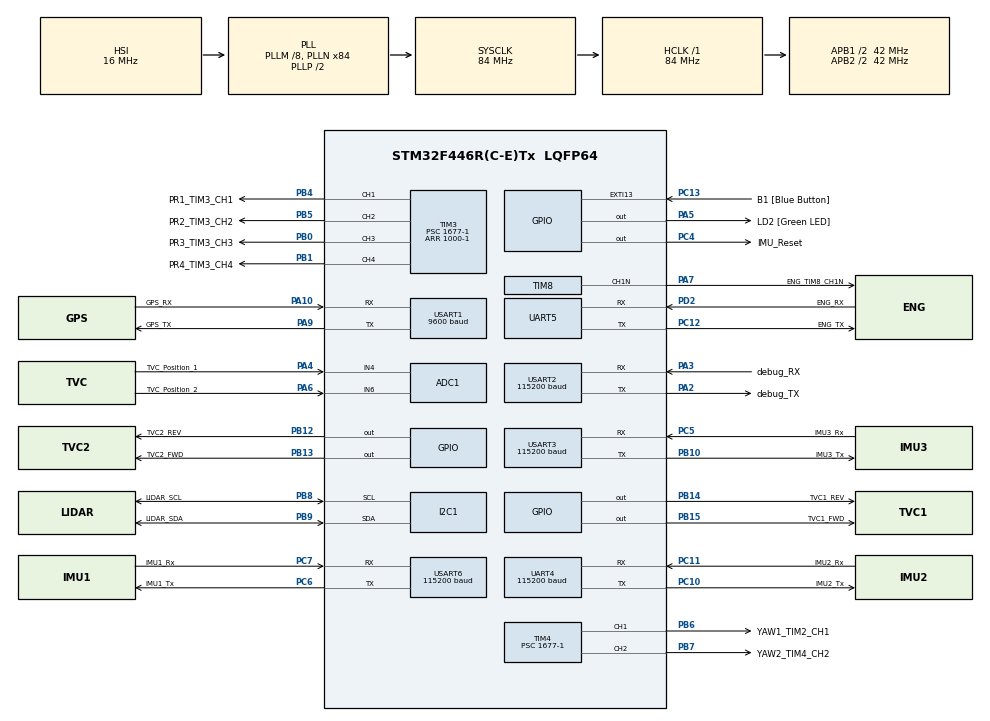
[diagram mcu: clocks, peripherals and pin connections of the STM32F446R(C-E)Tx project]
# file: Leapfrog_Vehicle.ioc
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ADC1.Channel-0\#ChannelRegularConversion=ADC_CHANNEL_4
ADC1.Channel-1\#ChannelRegularConversion=ADC_CHANNEL_6
ADC1.Channel-2\#ChannelRegularConversion=ADC_CHANNEL_4
ADC1.ClockPrescaler=ADC_CLOCK_SYNC_PCLK_DIV4
ADC1.ContinuousConvMode=ENABLE
ADC1.DMAContinuousRequests=ENABLE
ADC1.InjNumberOfConversion=0
ADC1.NbrOfConversion=3
ADC1.NbrOfConversionFlag=1
ADC1.Rank-0\#ChannelRegularConversion=1
ADC1.Rank-1\#ChannelRegularConversion=2
ADC1.Rank-2\#ChannelRegularConversion=3
ADC1.SamplingTime-0\#ChannelRegularConversion=ADC_SAMPLETIME_3CYCLES
ADC1.SamplingTime-1\#ChannelRegularConversion=ADC_SAMPLETIME_3CYCLES
ADC1.SamplingTime-2\#ChannelRegularConversion=ADC_SAMPLETIME_3CYCLES
ADC1.ScanConvMode=ENABLE
ADC1.master=1
Dma.ADC1.0.Direction=DMA_PERIPH_TO_MEMORY
Dma.ADC1.0.FIFOMode=DMA_FIFOMODE_DISABLE
Dma.ADC1.0.Instance=DMA2_Stream0
Dma.ADC1.0.MemDataAlignment=DMA_MDATAALIGN_HALFWORD
Dma.ADC1.0.MemInc=DMA_MINC_ENABLE
Dma.ADC1.0.Mode=DMA_CIRCULAR
Dma.ADC1.0.PeriphDataAlignment=DMA_PDATAALIGN_HALFWORD
Dma.ADC1.0.PeriphInc=DMA_PINC_DISABLE
Dma.ADC1.0.Priority=DMA_PRIORITY_LOW
Dma.Request0=ADC1
FREERTOS.Mutexes01=lidarMutex,Dynamic,NULL,Available
FREERTOS.Tasks01=defaultTask,24,1024,StartDefaultTask,Default,NULL,Dynamic,NULL,NULL;ACSTask,24,512,StartACSTask,Default,NULL,Dynamic,NULL,NULL;DebugTask,24,512,StartDebugTask,Default,NULL,Dynamic,NULL,NULL;tvcTask,24,128,StartTVCTask,Default,NULL,Dynamic,NULL,NULL;KillSwitchPin,40,128,StartKillSwitchPin,Default,NULL,Dynamic,NULL,NULL;engineTask,24,1024,StartEngineTask,Default,NULL,Dynamic,NULL,NULL
FREERTOS.configUSE_NEWLIB_REENTRANT=1
I2C1.I2C_Mode=I2C_Fast
Mcu.Family=STM32F4
Mcu.Name=STM32F446R(C-E)Tx
Mcu.Package=LQFP64
NVIC.ADC_IRQn=true\:5\:0\:false\:false\:true\:true\:true\:true\:true
NVIC.DMA2_Stream0_IRQn=true\:5\:0\:false\:false\:true\:true\:false\:true\:true
NVIC.EXTI15_10_IRQn=true\:5\:0\:false\:false\:true\:true\:true\:true\:true
NVIC.I2C1_ER_IRQn=true\:5\:0\:false\:false\:true\:true\:true\:true\:true
NVIC.I2C1_EV_IRQn=true\:5\:0\:false\:false\:true\:true\:true\:true\:true
NVIC.PriorityGroup=NVIC_PRIORITYGROUP_4
NVIC.TIM1_UP_TIM10_IRQn=true\:15\:0\:false\:false\:true\:false\:false\:true\:true
NVIC.TIM2_IRQn=true\:5\:0\:false\:false\:true\:true\:true\:true\:true
NVIC.TIM3_IRQn=true\:5\:0\:false\:false\:true\:true\:true\:true\:true
NVIC.TIM4_IRQn=true\:5\:0\:false\:false\:true\:true\:true\:true\:true
NVIC.TimeBase=TIM1_UP_TIM10_IRQn
NVIC.TimeBaseIP=TIM1
NVIC.UART4_IRQn=true\:5\:0\:false\:false\:true\:true\:true\:true\:true
NVIC.UART5_IRQn=true\:5\:0\:false\:false\:true\:true\:true\:true\:true
NVIC.USART1_IRQn=true\:5\:0\:false\:false\:true\:true\:true\:true\:true
NVIC.USART2_IRQn=true\:5\:0\:false\:false\:true\:true\:true\:true\:true
NVIC.USART3_IRQn=true\:5\:0\:false\:false\:true\:true\:true\:true\:true
NVIC.USART6_IRQn=true\:5\:0\:false\:false\:true\:true\:true\:true\:true
PA10.GPIO_Label=GPS_RX
PA10.Mode=Asynchronous
PA10.Signal=USART1_RX
PA13.Mode=Trace_Asynchronous_SW
PA13.Signal=SYS_JTMS-SWDIO
PA14.Mode=Trace_Asynchronous_SW
PA14.Signal=SYS_JTCK-SWCLK
PA2.GPIO_Label=debug_TX
PA2.Mode=Asynchronous
PA2.Signal=USART2_TX
PA3.GPIO_Label=debug_RX
PA3.Mode=Asynchronous
PA3.Signal=USART2_RX
PA4.GPIO_Label=TVC_Position_1
PA4.Signal=ADCx_IN4
PA5.GPIO_Label=LD2 [Green LED]
PA5.Signal=GPIO_Output
PA6.GPIO_Label=TVC_Position_2
PA6.Signal=ADCx_IN6
PA7.GPIO_Label=ENG_TIM8_CH1N
PA7.Mode=PWM Generation1 CH1N
PA7.Signal=TIM8_CH1N
PA9.GPIO_Label=GPS_TX
PA9.Mode=Asynchronous
PA9.Signal=USART1_TX
PB0.GPIO_Label=PR3_TIM3_CH3
PB0.Signal=S_TIM3_CH3
PB1.GPIO_Label=PR4_TIM3_CH4
PB1.Signal=S_TIM3_CH4
PB10.GPIO_Label=IMU3_Tx
PB10.Mode=Asynchronous
PB10.Signal=USART3_TX
PB12.GPIO_Label=TVC2_REV
PB12.Signal=GPIO_Output
PB13.GPIO_Label=TVC2_FWD
PB13.Signal=GPIO_Output
PB14.GPIO_Label=TVC1_REV
PB14.Signal=GPIO_Output
PB15.GPIO_Label=TVC1_FWD
PB15.Signal=GPIO_Output
PB3.Mode=Trace_Asynchronous_SW
PB3.Signal=SYS_JTDO-SWO
PB4.GPIO_Label=PR1_TIM3_CH1
PB4.Signal=S_TIM3_CH1
PB5.GPIO_Label=PR2_TIM3_CH2
PB5.Signal=S_TIM3_CH2
PB6.GPIO_Label=YAW1_TIM2_CH1
PB6.Signal=S_TIM4_CH1
PB7.GPIO_Label=YAW2_TIM4_CH2
PB7.Signal=S_TIM4_CH2
PB8.GPIO_Label=LIDAR_SCL
PB8.Mode=I2C
PB8.Signal=I2C1_SCL
PB9.GPIO_Label=LIDAR_SDA
PB9.Mode=I2C
PB9.Signal=I2C1_SDA
PC10.GPIO_Label=IMU2_Tx
PC10.Mode=Asynchronous
PC10.Signal=UART4_TX
PC11.GPIO_Label=IMU2_Rx
PC11.Mode=Asynchronous
PC11.Signal=UART4_RX
PC12.GPIO_Label=ENG_TX
PC12.Mode=Asynchronous
PC12.Signal=UART5_TX
PC13.GPIO_Label=B1 [Blue Button]
PC13.GPIO_ModeDefaultEXTI=GPIO_MODE_IT_FALLING
PC13.Signal=GPXTI13
PC14-OSC32_IN.Mode=LSE-External-Oscillator
PC14-OSC32_IN.Signal=RCC_OSC32_IN
PC15-OSC32_OUT.Mode=LSE-External-Oscillator
PC15-OSC32_OUT.Signal=RCC_OSC32_OUT
PC4.GPIO_Label=IMU_Reset
PC4.Signal=GPIO_Output
PC5.GPIO_Label=IMU3_Rx
PC5.Mode=Asynchronous
PC5.Signal=USART3_RX
PC6.GPIO_Label=IMU1_Tx
PC6.Mode=Asynchronous
PC6.Signal=USART6_TX
PC7.GPIO_Label=IMU1_Rx
PC7.Mode=Asynchronous
PC7.Signal=USART6_RX
PD2.GPIO_Label=ENG_RX
PD2.Mode=Asynchronous
PD2.Signal=UART5_RX
PH0-OSC_IN.Mode=HSE-External-Oscillator
PH0-OSC_IN.Signal=RCC_OSC_IN
PH1-OSC_OUT.Mode=HSE-External-Oscillator
PH1-OSC_OUT.Signal=RCC_OSC_OUT
ProjectManager.HeapSize=0x200
ProjectManager.StackSize=0x400
ProjectManager.TargetToolchain=STM32CubeIDE
RCC.AHBFreq_Value=84000000
RCC.APB1CLKDivider=RCC_HCLK_DIV2
RCC.APB1Freq_Value=42000000
RCC.APB1TimFreq_Value=84000000
RCC.APB2CLKDivider=RCC_HCLK_DIV2
RCC.APB2Freq_Value=42000000
RCC.APB2TimFreq_Value=84000000
RCC.CortexFreq_Value=84000000
RCC.HCLKFreq_Value=84000000
RCC.PLLM=8
RCC.PLLN=84
RCC.SYSCLKFreq_VALUE=84000000
RCC.SYSCLKSource=RCC_SYSCLKSOURCE_PLLCLK
RCC.USBFreq_Value=84000000
RCC.VCOOutputFreq_Value=168000000
SH.ADCx_IN4.0=ADC1_IN4,IN4
SH.ADCx_IN6.0=ADC1_IN6,IN6
SH.S_TIM3_CH1.0=TIM3_CH1,PWM Generation1 CH1
SH.S_TIM3_CH2.0=TIM3_CH2,PWM Generation2 CH2
SH.S_TIM3_CH3.0=TIM3_CH3,PWM Generation3 CH3
SH.S_TIM3_CH4.0=TIM3_CH4,PWM Generation4 CH4
SH.S_TIM4_CH1.0=TIM4_CH1,PWM Generation1 CH1
SH.S_TIM4_CH2.0=TIM4_CH2,PWM Generation2 CH2
TIM2.AutoReloadPreload=TIM_AUTORELOAD_PRELOAD_ENABLE
TIM2.Period=1000-1
TIM2.Prescaler=8400-1
TIM3.AutoReloadPreload=TIM_AUTORELOAD_PRELOAD_ENABLE
TIM3.Channel-PWM\ Generation1\ CH1=TIM_CHANNEL_1
TIM3.Channel-PWM\ Generation2\ CH2=TIM_CHANNEL_2
TIM3.Channel-PWM\ Generation3\ CH3=TIM_CHANNEL_3
TIM3.Channel-PWM\ Generation4\ CH4=TIM_CHANNEL_4
TIM3.Period=1000-1
TIM3.Prescaler=1677-1
TIM3.Pulse-PWM\ Generation1\ CH1=50
TIM3.Pulse-PWM\ Generation3\ CH3=50
TIM3.Pulse-PWM\ Generation4\ CH4=50
TIM4.AutoReloadPreload=TIM_AUTORELOAD_PRELOAD_ENABLE
TIM4.Channel-PWM\ Generation1\ CH1=TIM_CHANNEL_1
TIM4.Channel-PWM\ Generation2\ CH2=TIM_CHANNEL_2
TIM4.Period=1000-1
TIM4.Prescaler=1677-1
TIM4.Pulse-PWM\ Generation1\ CH1=0
TIM4.Pulse-PWM\ Generation2\ CH2=50
TIM8.AutoReloadPreload=TIM_AUTORELOAD_PRELOAD_ENABLE
TIM8.Channel-PWM\ Generation1\ CH1N=TIM_CHANNEL_1
TIM8.Period=1000-1
TIM8.Prescaler=1677-1
UART4.BaudRate=115200
UART4.OverSampling=UART_OVERSAMPLING_8
UART4.VirtualMode=Asynchronous
UART5.VirtualMode=Asynchronous
USART1.BaudRate=9600
USART1.OverSampling=UART_OVERSAMPLING_8
USART1.VirtualMode=VM_ASYNC
USART2.BaudRate=115200
USART2.OverSampling=UART_OVERSAMPLING_8
USART2.VirtualMode=VM_ASYNC
USART3.BaudRate=115200
USART3.OverSampling=UART_OVERSAMPLING_8
USART3.VirtualMode=VM_ASYNC
USART6.BaudRate=115200
USART6.OverSampling=UART_OVERSAMPLING_8
USART6.VirtualMode=VM_ASYNC
USART6.WordLength=WORDLENGTH_8B
VP_FREERTOS_VS_CMSIS_V2.Mode=CMSIS_V2
VP_SYS_VS_tim1.Mode=TIM1
VP_TIM2_VS_ClockSourceINT.Mode=Internal
board=custom

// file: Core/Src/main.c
/* USER CODE BEGIN Header */
/**
 ******************************************************************************
 * @file           : main.c
 * @brief          : Main program body
 ******************************************************************************
 * @attention
 *
 * Copyright (c) 2024 STMicroelectronics.
 * All rights reserved.
 *
 * This software is licensed under terms that can be found in the LICENSE file
 * in the root directory of this software component.
 * If no LICENSE file comes with this software, it is provided AS-IS.
 *
 * NOTE:
 *
 ******************************************************************************
 */

/* USER CODE END Header */
#include "main.h"
#include "cmsis_os.h"

/* USER CODE BEGIN Includes */
#include <math.h>
#include <errno.h>
#include <stdarg.h>
#include <sys/unistd.h> // STDOUT_FILENO, STDERR_FILENO
#include <stdlib.h>
#include <string.h>
#include <stdio.h>
#include <stdbool.h>

// Include source files

//#include "heartbeat.h"
#include "task.h"
#include "queue.h"
#include "tvc.h"
#include "ACS_PID.h"
#include "processIMU.h"
#include "altimeter.h"
#include "engine_PID.h"
#include "engine.h"
#include "alt_imu_coupling.h"
#include "gps.h"
//#include "printf.h"

/* USER CODE END Includes */

/* USER CODE BEGIN PD */
#define RX_BUFFER_SIZE 512
#define UART_TIMEOUT 100

#define SAFE_PI_TIMEOUT_MS 1000                    // Timeout in ms for Pi comms
volatile bool safeland_active         = false;
volatile uint32_t last_pi_comm_tick   = 0;

/* USER CODE END PD */

ADC_HandleTypeDef hadc1;
DMA_HandleTypeDef hdma_adc1;

I2C_HandleTypeDef hi2c1;

TIM_HandleTypeDef htim2;
TIM_HandleTypeDef htim3;
TIM_HandleTypeDef htim4;
TIM_HandleTypeDef htim8;

UART_HandleTypeDef huart4;
UART_HandleTypeDef huart5;
UART_HandleTypeDef huart1;
UART_HandleTypeDef huart2;
UART_HandleTypeDef huart3;
UART_HandleTypeDef huart6;

/* Definitions for defaultTask */
osThreadId_t defaultTaskHandle;
const osThreadAttr_t defaultTask_attributes = {
  .name = "defaultTask",
  .stack_size = 1024 * 4,
  .priority = (osPriority_t) osPriorityNormal,
};
/* Definitions for ACSTask */
osThreadId_t ACSTaskHandle;
const osThreadAttr_t ACSTask_attributes = {
  .name = "ACSTask",
  .stack_size = 512 * 4,
  .priority = (osPriority_t) osPriorityNormal,
};
/* Definitions for DebugTask */
osThreadId_t DebugTaskHandle;
const osThreadAttr_t DebugTask_attributes = {
  .name = "DebugTask",
  .stack_size = 512 * 4,
  .priority = (osPriority_t) osPriorityNormal,
};
/* Definitions for tvcTask */
osThreadId_t tvcTaskHandle;
const osThreadAttr_t tvcTask_attributes = {
  .name = "tvcTask",
  .stack_size = 128 * 4,
  .priority = (osPriority_t) osPriorityNormal,
};
/* Definitions for KillSwitchPin */
osThreadId_t KillSwitchPinHandle;
const osThreadAttr_t KillSwitchPin_attributes = {
  .name = "KillSwitchPin",
  .stack_size = 128 * 4,
  .priority = (osPriority_t) osPriorityHigh,
};
/* Definitions for engineTask */
osThreadId_t engineTaskHandle;
const osThreadAttr_t engineTask_attributes = {
  .name = "engineTask",
  .stack_size = 1024 * 4,
  .priority = (osPriority_t) osPriorityNormal,
};
/* Definitions for lidarMutex */
osMutexId_t lidarMutexHandle;
const osMutexAttr_t lidarMutex_attributes = {
  .name = "lidarMutex"
};
/* USER CODE BEGIN PV */

// Define the global instance of STM32Response
STM32Response stm32Response;

// Define system state variables
ACS_State acsState;
TVC_State tvcState;
Jet_State engineState;

// Heartbeat Variables
QueueHandle_t piMessageQueueHandle;

// ACS Variables
uint8_t imuCalibrate = 0;
uint8_t imuCalibrate_Sticky = 0;

// Altimeter Variables
#define ALT_QUEUE_LENGTH 1
#define ALT_QUEUE_ITEM_SIZE sizeof(AltimeterData)
QueueHandle_t AltimeterQueueHandle;

// TVC Variables
//TODO Placeholder queue creation! (TVC_Data needs to be updated in tvc.c!)
#define TVC_QUEUE_LENGTH 1
#define TVC_QUEUE_ITEM_SIZE sizeof(TVC_Data)
QueueHandle_t tvcQueueHandle;

// GPS Variables
// TODO Placeholder queue creation!
#define GPS_QUEUE_LENGTH  1
#define GPS_QUEUE_ITEM_SIZE sizeof(GPS_Data)
QueueHandle_t gpsQueueHandle;

/* USER CODE END PV */

void SystemClock_Config(void);
static void MX_GPIO_Init(void);
static void MX_DMA_Init(void);
static void MX_TIM3_Init(void);
static void MX_TIM4_Init(void);
static void MX_USART2_UART_Init(void);
static void MX_USART6_UART_Init(void);
static void MX_TIM2_Init(void);
static void MX_UART5_Init(void);
static void MX_ADC1_Init(void);
static void MX_USART1_UART_Init(void);
static void MX_I2C1_Init(void);
static void MX_UART4_Init(void);
static void MX_USART3_UART_Init(void);
static void MX_TIM8_Init(void);
void StartDefaultTask(void *argument);
void StartACSTask(void *argument);
void StartDebugTask(void *argument);
void StartTVCTask(void *argument);
void StartKillSwitchPin(void *argument);
void StartEngineTask(void *argument);

/* USER CODE BEGIN PFP */
void HAL_UART_RxCpltCallback(UART_HandleTypeDef *huart);
void debugOutput(UART_HandleTypeDef *huart);

/* USER CODE END PFP */

/* USER CODE BEGIN 0 */

// Custom _putchar for lightweight printf to UART1
void _putchar(char character) {
    HAL_UART_Transmit(&huart2, (uint8_t *)&character, 1, HAL_MAX_DELAY);
}

 uint8_t modeButton = 0; // Used for Blue Button to toggle external interrupt

/* _write function implementation */
int _write(int file, char *data, int len) {
    if ((file != STDOUT_FILENO) && (file != STDERR_FILENO)) {
        errno = EBADF;
        return -1;
    }
    HAL_UART_Transmit(&huart2, (uint8_t*)data, len, HAL_MAX_DELAY);
    return len;
}

void HAL_UART_RxCpltCallback(UART_HandleTypeDef *huart)
{   // Handle incoming IMU data and restart the UART reception interrupt.
	// This function is automatically called by the HAL library when a UART receive operation is completed (HAL_UART_Receive_IT).
	// It takes a pointer to the UART handle (huart) that triggered the interrupt.

    // Handle overrun errors first
	// IMU specifically seems to hit ORE (overrun) a lot ¯\_(ツ)_/¯
    if (__HAL_UART_GET_FLAG(huart, UART_FLAG_ORE)) {
        __HAL_UART_CLEAR_OREFLAG(huart);
        printf("UART Overrun Error!\r\n");
    }

	if (huart->Instance == USART6) {
		// Restart UART reception
		HAL_UART_Receive_IT(&huart6, imu1RxBuf, IMU_PACKET_LEN);
	}
	if (huart->Instance == UART4) {
		// Restart UART reception
		HAL_UART_Receive_IT(&huart4, imu2RxBuf, IMU_PACKET_LEN);
	}
	if (huart->Instance == USART3) {
		// Restart UART reception
		HAL_UART_Receive_IT(&huart3, imu3RxBuf, IMU_PACKET_LEN);
	}
	if (huart->Instance == USART2) {
		// Handle Pi communication - process received byte
		extern void ProcessPiByte(uint8_t received_byte);
		ProcessPiByte(huart->pRxBuffPtr[0]);

		// Restart UART reception for next byte
		HAL_UART_Receive_IT(&huart2, huart->pRxBuffPtr, 1);
	}
	if (huart->Instance == USART1) {
		// Handle GPS data - process received packet
		extern void gpsUARTRXCallback(uint8_t *bufferGPS);
		gpsUARTRXCallback(huart->pRxBuffPtr);
	}

}

void debugOutput(UART_HandleTypeDef *huart){ // Debug for code setup
    char uart_buffer[768]; // shared buffer for UART,
    // Full message is too large for buffer.

    // Clear the buffer
    memset(uart_buffer, 0, sizeof(uart_buffer));

    // Make string for printing test data
    int len = snprintf(uart_buffer, sizeof(uart_buffer),
//	    	"\rIMU1 - R: %.2f, P: %.2f, Y: %.2f \r\n"
//	    	"\rIMU2 - R: %.2f, P: %.2f, Y: %.2f \r\n"
//	    	"\rIMU3 - R: %.2f, P: %.2f, Y: %.2f \r\n"
			"\rroll: %.2f, pitch: %.2f, yaw: %.2f \r\n"
			"\rP_pitch: %.2f, I_pitch: %.2f, D_pitch: %.2f \r\n"
			"\rP_roll: %.2f, I_roll: %.2f, D_roll: %.2f \r\n"
			"\rP_yaw: %.2f, I_yaw: %.2f, D_yaw: %.2f \r\n"
			"\rAngVel_X: %.2f, AngVel_Y: %.2f \r\n"
			"\rIntegral_pitch: %.2f, Integral_roll: %.2f, Integral_yaw: %.2f \r\n"
			"\rPR1: %.2f, PR2: %.2f, PR3: %.2f, PR4: %.2f, Y1: %.2f, Y2: %.2f \r\n"
			"\rAltitude: %d, Adjusted Altitude: %0.2f \r\n"
    		"\rGPS - Lat: %.6f, Lon: %.6f, Alt: %.2f, Fix: %d \r\n"
    		"\rGPS - Speed: %.2f m/s, Heading: %.1f°, Valid: %d, Age: %lums \r\n"
    		"\rEngine PID Output: %.2f, Engine Throttle %%: %d \r\n"
			"\r\n",
//			imu_roll[0], imu_pitch[0], imu_yaw[0],
//			imu_roll[1], imu_pitch[1], imu_yaw[1],
//			imu_roll[2], imu_pitch[2], imu_yaw[2],
			processed_roll_deg, processed_pitch_deg, processed_yaw_deg,
			P_pitch, I_pitch, D_pitch,
			P_roll, I_roll, D_roll,
			P_yaw, I_yaw, D_yaw,
			current_angvel_x_degs, current_angvel_y_degs,
			integral_pitch,	integral_roll, integral_yaw,
			PR1_output, PR2_output, PR3_output, PR4_output, Y1_output, Y2_output,
			(int16_t)latestData.altitude, adjusted_altitude_cm,
			latestGPSdata.latitude, latestGPSdata.longitude, latestGPSdata.altitude, latestGPSdata.fix_status,
			latestGPSdata.speed_ms, latestGPSdata.heading_deg, latestGPSdata.data_valid, latestGPSdata.data_age_ms,
			altPIDOut, throttle_percent
    	);

    // Transmit over UART
    HAL_UART_Transmit(huart, (uint8_t *)uart_buffer, len, HAL_MAX_DELAY);
}

// Callback function | every time blue button is pressed, the function is called
// Physical on/off switch... nice!
void HAL_GPIO_EXTI_Callback(uint16_t GPIO_Pin)
{
	modeButton = modeButton + 1;
	if (modeButton > 1)
	{
		modeButton = 0;
	}

}

/* USER CODE END 0 */

int main(void)
{

  /* MCU Configuration--------------------------------------------------------*/

  /* Reset of all peripherals, Initializes the Flash interface and the Systick. */
  HAL_Init();

  /* Configure the system clock */
  SystemClock_Config();

  /* Initialize all configured peripherals */
  MX_GPIO_Init();
  MX_DMA_Init();
  MX_TIM3_Init();
  MX_TIM4_Init();
  MX_USART2_UART_Init();
  MX_USART6_UART_Init();
  MX_TIM2_Init();
  MX_UART5_Init();
  MX_ADC1_Init();
  MX_USART1_UART_Init();
  MX_I2C1_Init();
  MX_UART4_Init();
  MX_USART3_UART_Init();
  MX_TIM8_Init();
  /* USER CODE BEGIN 2 */

  HAL_Delay(500);    // Short delay to allow systems to finish initializing

  printf("\r\nSystem initialized!\r\n");
  HAL_Delay(20);

  /* IMU HANDLING ------------------------------------------------------------- */
  printf("Starting UART check...\r\n");

  // Start UART reception for IMU data (only after IMU is fully ready)
  if (HAL_UART_Receive_IT(&huart6, imu1RxBuf, IMU_PACKET_LEN) != HAL_OK) {
      printf("IMU1 UART6 Initialization Failed!\r\n");
      Error_Handler();
  }
  else{
	  printf("\rIMU1 USART6 Initialization Complete!\r\n");
  }
  HAL_Delay(10);

  if (HAL_UART_Receive_IT(&huart4, imu2RxBuf, IMU_PACKET_LEN) != HAL_OK) {
        printf("IMU2 UART4 Initialization Failed!\r\n");
        Error_Handler();
  }
  else{
  	  printf("\rIMU2 USART4 Initialization Complete!\r\n");
    }
  HAL_Delay(10);

  if (HAL_UART_Receive_IT(&huart3, imu3RxBuf, IMU_PACKET_LEN) != HAL_OK) {
        printf("IMU3 UART3 Initialization Failed!\r\n");
        Error_Handler();
  }
  else{
  	  printf("\rIMU3 USART3 Initialization Complete! \r\n");
    }

  HAL_Delay(200);

  /* PI COMMUNICATION HANDLING ------------------------------------------------- */
  printf("Starting Pi UART communication...\r\n");
  extern void InitPiUARTReception(UART_HandleTypeDef *huart);
  InitPiUARTReception(&huart2);

  HAL_Delay(100);

  /* ALTIMITER HANDLING -------------------------------------------------------- */
  printf("\rStarting I2C check... \r\n");

// Initialize Altimeter with desired distance mode
  altimeterInit(&hi2c1, ALTIMETER_SHORT_DISTANCE_MODE);  // Use SHORT mode (for low sensitivity, high precision)
// OR:
// altimeterInit(&hi2c1, ALTIMETER_LONG_DISTANCE_MODE);  // Use LONG mode (for high sensitivity, longer range)

  if (altimeterCheckI2CReady() != HAL_OK) {
      printf("\rAltimeter I2C check failed. LIDAR not responding!\r\n");
      Error_Handler();  // Stop execution if LIDAR is not responding
  } else {
      printf("\rAltimeter Initialized! \r\n");
  }
  HAL_Delay(200);

  /* GPS HANDLING -------------------------------------------------------------- */
  printf("\rStarting GPS initialization...\r\n");
  gpsInit(&huart1);  // Initialize GPS on UART1 (PA9/PA10)
  gpsConfigureSAM_M8Q();  // Configure SAM-M8Q for optimal performance
  printf("\rGPS Initialized!\r\n");
  HAL_Delay(100);

/* End sensor initialization --------------------------------------------------- */

	/* Start PWM channels for Pitch & Roll EDFs 1-4 */
	HAL_TIM_PWM_Start(&htim3, TIM_CHANNEL_1);
	HAL_TIM_PWM_Start(&htim3, TIM_CHANNEL_2);
	HAL_TIM_PWM_Start(&htim3, TIM_CHANNEL_3);
	HAL_TIM_PWM_Start(&htim3, TIM_CHANNEL_4);
	/* Start PWM for Yaw EDF 5&6, 7&8 */
	HAL_TIM_PWM_Start(&htim4, TIM_CHANNEL_1);
	HAL_TIM_PWM_Start(&htim4, TIM_CHANNEL_2);

	void SetFanSpeed(uint32_t Fan1, uint32_t Fan2, uint32_t Fan3, uint32_t Fan4, uint32_t Fan5, uint32_t Fan6) {
	    TIM3->CCR1 = Fan1;  // Fan 1
	    TIM3->CCR2 = Fan2;  // Fan 2
	    TIM3->CCR3 = Fan3;  // Fan 3
	    TIM3->CCR4 = Fan4;  // Fan 4
	    TIM4->CCR1 = Fan5;  // Fan 5
	    TIM4->CCR2 = Fan6;  // Fan 6
	}
	        HAL_Delay(1000); // Allow ESCs to initialize
	        SetFanSpeed(50, 50, 50, 50, 50, 50);  // Sets all throttle to 0%
	        HAL_Delay(3000);

//	        printf("\n Startup Test Begins! \r\n");
//
//	        SetFanSpeed(60, 50, 50, 50, 50, 50);  // Fan 1
//	        HAL_Delay(2000);
//
//	        SetFanSpeed(50, 60, 50, 50, 50, 50);  // Fan 2
//	        HAL_Delay(2000);
//
//	        SetFanSpeed(50, 50, 60, 50, 50, 50);  // Fan 3
//	        HAL_Delay(2000);
//
//	        SetFanSpeed(50, 50, 50, 60, 50, 50);  // Fan 4
//	        HAL_Delay(2000);
//
//	        SetFanSpeed(50, 50, 50, 50, 60, 50);  // Fan 5
//	        HAL_Delay(4000);
//
//	        SetFanSpeed(50, 50, 50, 50, 50, 60);  // Fan 6
//	        HAL_Delay(4000);
//
//	        SetFanSpeed(50, 50, 50, 50, 50, 50);  // Reset all throttle to 0%
//
//	        printf("\n Startup Test complete! \r\n");
//
//	        HAL_Delay(2000);

	        printf("\rAll ESCs Initialized! \r\n");
	        HAL_Delay(200);

	/* Start timer interrupt for PID control */
	HAL_TIM_Base_Start_IT(&htim2);

	HAL_Delay(100);

    printf("\rSystem starting... \r\n");

    HAL_Delay(1000);

  /* USER CODE END 2 */

  /* Init scheduler */
  osKernelInitialize();
  /* Create the mutex(es) */
  /* creation of lidarMutex */
  lidarMutexHandle = osMutexNew(&lidarMutex_attributes);

  /* USER CODE BEGIN RTOS_QUEUES */
	/* add queues, ... */

  	// Heartbeat Queue
  	piMessageQueueHandle = xQueueCreate(1, sizeof(STM32Message));
  	if (piMessageQueueHandle == NULL) {
  	    printf("Failed to create piMessage Queue!\r\n");
  	    Error_Handler();
  	}

  	// TVC Queue ... TODO unused for now
  	tvcQueueHandle = xQueueCreate(TVC_QUEUE_LENGTH, TVC_QUEUE_ITEM_SIZE);
  	if (tvcQueueHandle == NULL) {
  	    printf("Failed to create TVC Queue!\r\n");
  	    Error_Handler();
  	}

    // Altimeter Queue ... TODO unused for now
    AltimeterQueueHandle = xQueueCreate(ALT_QUEUE_LENGTH, ALT_QUEUE_ITEM_SIZE);
    if (AltimeterQueueHandle == NULL) {
        printf("\rFailed to create ALTIMETER Queue!\r\n");
        Error_Handler();
    }

  	// GPS Queue ... TODO unused for now
  	 gpsQueueHandle = xQueueCreate(GPS_QUEUE_LENGTH, GPS_QUEUE_ITEM_SIZE);
     if (gpsQueueHandle == NULL) {
         printf("\rFailed to create GPS Queue!\r\n");
         Error_Handler();
     }

  /* USER CODE END RTOS_QUEUES */

  /* Create the thread(s) */
  /* creation of defaultTask */
  defaultTaskHandle = osThreadNew(StartDefaultTask, NULL, &defaultTask_attributes);

  /* creation of ACSTask */
  ACSTaskHandle = osThreadNew(StartACSTask, NULL, &ACSTask_attributes);

  /* creation of DebugTask */
  DebugTaskHandle = osThreadNew(StartDebugTask, NULL, &DebugTask_attributes);

  /* creation of tvcTask */
  tvcTaskHandle = osThreadNew(StartTVCTask, NULL, &tvcTask_attributes);

  /* creation of KillSwitchPin */
  KillSwitchPinHandle = osThreadNew(StartKillSwitchPin, NULL, &KillSwitchPin_attributes);

  /* creation of engineTask */
  engineTaskHandle = osThreadNew(StartEngineTask, NULL, &engineTask_attributes);

  /* USER CODE BEGIN RTOS_EVENTS */
	/* add events, ... */
  printf("\rKernel starting...\r\n");
  /* USER CODE END RTOS_EVENTS */

  /* Start scheduler */
  osKernelStart();

  /* We should never get here as control is now taken by the scheduler */

  /* Infinite loop */

}

void SystemClock_Config(void)
{
  RCC_OscInitTypeDef RCC_OscInitStruct = {0};
  RCC_ClkInitTypeDef RCC_ClkInitStruct = {0};

  /** Configure the main internal regulator output voltage
  */
  __HAL_RCC_PWR_CLK_ENABLE();
  __HAL_PWR_VOLTAGESCALING_CONFIG(PWR_REGULATOR_VOLTAGE_SCALE3);

  /** Initializes the RCC Oscillators according to the specified parameters
  * in the RCC_OscInitTypeDef structure.
  */
  RCC_OscInitStruct.OscillatorType = RCC_OSCILLATORTYPE_HSI;
  RCC_OscInitStruct.HSIState = RCC_HSI_ON;
  RCC_OscInitStruct.HSICalibrationValue = RCC_HSICALIBRATION_DEFAULT;
  RCC_OscInitStruct.PLL.PLLState = RCC_PLL_ON;
  RCC_OscInitStruct.PLL.PLLSource = RCC_PLLSOURCE_HSI;
  RCC_OscInitStruct.PLL.PLLM = 8;
  RCC_OscInitStruct.PLL.PLLN = 84;
  RCC_OscInitStruct.PLL.PLLP = RCC_PLLP_DIV2;
  RCC_OscInitStruct.PLL.PLLQ = 2;
  RCC_OscInitStruct.PLL.PLLR = 2;
  if (HAL_RCC_OscConfig(&RCC_OscInitStruct) != HAL_OK)
  {
    Error_Handler();
  }

  /** Initializes the CPU, AHB and APB buses clocks
  */
  RCC_ClkInitStruct.ClockType = RCC_CLOCKTYPE_HCLK|RCC_CLOCKTYPE_SYSCLK
                              |RCC_CLOCKTYPE_PCLK1|RCC_CLOCKTYPE_PCLK2;
  RCC_ClkInitStruct.SYSCLKSource = RCC_SYSCLKSOURCE_PLLCLK;
  RCC_ClkInitStruct.AHBCLKDivider = RCC_SYSCLK_DIV1;
  RCC_ClkInitStruct.APB1CLKDivider = RCC_HCLK_DIV2;
  RCC_ClkInitStruct.APB2CLKDivider = RCC_HCLK_DIV2;

  if (HAL_RCC_ClockConfig(&RCC_ClkInitStruct, FLASH_LATENCY_2) != HAL_OK)
  {
    Error_Handler();
  }
}

static void MX_ADC1_Init(void)
{

  ADC_ChannelConfTypeDef sConfig = {0};

  /** Configure the global features of the ADC (Clock, Resolution, Data Alignment and number of conversion)
  */
  hadc1.Instance = ADC1;
  hadc1.Init.ClockPrescaler = ADC_CLOCK_SYNC_PCLK_DIV4;
  hadc1.Init.Resolution = ADC_RESOLUTION_12B;
  hadc1.Init.ScanConvMode = ENABLE;
  hadc1.Init.ContinuousConvMode = ENABLE;
  hadc1.Init.DiscontinuousConvMode = DISABLE;
  hadc1.Init.ExternalTrigConvEdge = ADC_EXTERNALTRIGCONVEDGE_NONE;
  hadc1.Init.ExternalTrigConv = ADC_SOFTWARE_START;
  hadc1.Init.DataAlign = ADC_DATAALIGN_RIGHT;
  hadc1.Init.NbrOfConversion = 3;
  hadc1.Init.DMAContinuousRequests = ENABLE;
  hadc1.Init.EOCSelection = ADC_EOC_SINGLE_CONV;
  if (HAL_ADC_Init(&hadc1) != HAL_OK)
  {
    Error_Handler();
  }

  /** Configure for the selected ADC regular channel its corresponding rank in the sequencer and its sample time.
  */
  sConfig.Channel = ADC_CHANNEL_4;
  sConfig.Rank = 1;
  sConfig.SamplingTime = ADC_SAMPLETIME_3CYCLES;
  if (HAL_ADC_ConfigChannel(&hadc1, &sConfig) != HAL_OK)
  {
    Error_Handler();
  }

  /** Configure for the selected ADC regular channel its corresponding rank in the sequencer and its sample time.
  */
  sConfig.Channel = ADC_CHANNEL_6;
  sConfig.Rank = 2;
  if (HAL_ADC_ConfigChannel(&hadc1, &sConfig) != HAL_OK)
  {
    Error_Handler();
  }

  /** Configure for the selected ADC regular channel its corresponding rank in the sequencer and its sample time.
  */
  sConfig.Channel = ADC_CHANNEL_4;
  sConfig.Rank = 3;
  if (HAL_ADC_ConfigChannel(&hadc1, &sConfig) != HAL_OK)
  {
    Error_Handler();
  }

}

static void MX_I2C1_Init(void)
{

  hi2c1.Instance = I2C1;
  hi2c1.Init.ClockSpeed = 400000;
  hi2c1.Init.DutyCycle = I2C_DUTYCYCLE_2;
  hi2c1.Init.OwnAddress1 = 0;
  hi2c1.Init.AddressingMode = I2C_ADDRESSINGMODE_7BIT;
  hi2c1.Init.DualAddressMode = I2C_DUALADDRESS_DISABLE;
  hi2c1.Init.OwnAddress2 = 0;
  hi2c1.Init.GeneralCallMode = I2C_GENERALCALL_DISABLE;
  hi2c1.Init.NoStretchMode = I2C_NOSTRETCH_DISABLE;
  if (HAL_I2C_Init(&hi2c1) != HAL_OK)
  {
    Error_Handler();
  }

}

static void MX_TIM2_Init(void)
{

  TIM_ClockConfigTypeDef sClockSourceConfig = {0};
  TIM_MasterConfigTypeDef sMasterConfig = {0};

  htim2.Instance = TIM2;
  htim2.Init.Prescaler = 8400-1;
  htim2.Init.CounterMode = TIM_COUNTERMODE_UP;
  htim2.Init.Period = 1000-1;
  htim2.Init.ClockDivision = TIM_CLOCKDIVISION_DIV1;
  htim2.Init.AutoReloadPreload = TIM_AUTORELOAD_PRELOAD_ENABLE;
  if (HAL_TIM_Base_Init(&htim2) != HAL_OK)
  {
    Error_Handler();
  }
  sClockSourceConfig.ClockSource = TIM_CLOCKSOURCE_INTERNAL;
  if (HAL_TIM_ConfigClockSource(&htim2, &sClockSourceConfig) != HAL_OK)
  {
    Error_Handler();
  }
  sMasterConfig.MasterOutputTrigger = TIM_TRGO_RESET;
  sMasterConfig.MasterSlaveMode = TIM_MASTERSLAVEMODE_DISABLE;
  if (HAL_TIMEx_MasterConfigSynchronization(&htim2, &sMasterConfig) != HAL_OK)
  {
    Error_Handler();
  }

}

static void MX_TIM3_Init(void)
{

  TIM_MasterConfigTypeDef sMasterConfig = {0};
  TIM_OC_InitTypeDef sConfigOC = {0};

  htim3.Instance = TIM3;
  htim3.Init.Prescaler = 1677-1;
  htim3.Init.CounterMode = TIM_COUNTERMODE_UP;
  htim3.Init.Period = 1000-1;
  htim3.Init.ClockDivision = TIM_CLOCKDIVISION_DIV1;
  htim3.Init.AutoReloadPreload = TIM_AUTORELOAD_PRELOAD_ENABLE;
  if (HAL_TIM_PWM_Init(&htim3) != HAL_OK)
  {
    Error_Handler();
  }
  sMasterConfig.MasterOutputTrigger = TIM_TRGO_RESET;
  sMasterConfig.MasterSlaveMode = TIM_MASTERSLAVEMODE_DISABLE;
  if (HAL_TIMEx_MasterConfigSynchronization(&htim3, &sMasterConfig) != HAL_OK)
  {
    Error_Handler();
  }
  sConfigOC.OCMode = TIM_OCMODE_PWM1;
  sConfigOC.Pulse = 50;
  sConfigOC.OCPolarity = TIM_OCPOLARITY_HIGH;
  sConfigOC.OCFastMode = TIM_OCFAST_DISABLE;
  if (HAL_TIM_PWM_ConfigChannel(&htim3, &sConfigOC, TIM_CHANNEL_1) != HAL_OK)
  {
    Error_Handler();
  }
  sConfigOC.Pulse = 0;
  if (HAL_TIM_PWM_ConfigChannel(&htim3, &sConfigOC, TIM_CHANNEL_2) != HAL_OK)
  {
    Error_Handler();
  }
  sConfigOC.Pulse = 50;
  if (HAL_TIM_PWM_ConfigChannel(&htim3, &sConfigOC, TIM_CHANNEL_3) != HAL_OK)
  {
    Error_Handler();
  }
  if (HAL_TIM_PWM_ConfigChannel(&htim3, &sConfigOC, TIM_CHANNEL_4) != HAL_OK)
  {
    Error_Handler();
  }
  HAL_TIM_MspPostInit(&htim3);

}

static void MX_TIM4_Init(void)
{

  TIM_MasterConfigTypeDef sMasterConfig = {0};
  TIM_OC_InitTypeDef sConfigOC = {0};

  htim4.Instance = TIM4;
  htim4.Init.Prescaler = 1677-1;
  htim4.Init.CounterMode = TIM_COUNTERMODE_UP;
  htim4.Init.Period = 1000-1;
  htim4.Init.ClockDivision = TIM_CLOCKDIVISION_DIV1;
  htim4.Init.AutoReloadPreload = TIM_AUTORELOAD_PRELOAD_ENABLE;
  if (HAL_TIM_PWM_Init(&htim4) != HAL_OK)
  {
    Error_Handler();
  }
  sMasterConfig.MasterOutputTrigger = TIM_TRGO_RESET;
  sMasterConfig.MasterSlaveMode = TIM_MASTERSLAVEMODE_DISABLE;
  if (HAL_TIMEx_MasterConfigSynchronization(&htim4, &sMasterConfig) != HAL_OK)
  {
    Error_Handler();
  }
  sConfigOC.OCMode = TIM_OCMODE_PWM1;
  sConfigOC.Pulse = 0;
  sConfigOC.OCPolarity = TIM_OCPOLARITY_HIGH;
  sConfigOC.OCFastMode = TIM_OCFAST_DISABLE;
  if (HAL_TIM_PWM_ConfigChannel(&htim4, &sConfigOC, TIM_CHANNEL_1) != HAL_OK)
  {
    Error_Handler();
  }
  sConfigOC.Pulse = 50;
  if (HAL_TIM_PWM_ConfigChannel(&htim4, &sConfigOC, TIM_CHANNEL_2) != HAL_OK)
  {
    Error_Handler();
  }
  HAL_TIM_MspPostInit(&htim4);

}

static void MX_TIM8_Init(void)
{

  TIM_MasterConfigTypeDef sMasterConfig = {0};
  TIM_OC_InitTypeDef sConfigOC = {0};
  TIM_BreakDeadTimeConfigTypeDef sBreakDeadTimeConfig = {0};

  htim8.Instance = TIM8;
  htim8.Init.Prescaler = 1677-1;
  htim8.Init.CounterMode = TIM_COUNTERMODE_UP;
  htim8.Init.Period = 1000-1;
  htim8.Init.ClockDivision = TIM_CLOCKDIVISION_DIV1;
  htim8.Init.RepetitionCounter = 0;
  htim8.Init.AutoReloadPreload = TIM_AUTORELOAD_PRELOAD_ENABLE;
  if (HAL_TIM_PWM_Init(&htim8) != HAL_OK)
  {
    Error_Handler();
  }
  sMasterConfig.MasterOutputTrigger = TIM_TRGO_RESET;
  sMasterConfig.MasterSlaveMode = TIM_MASTERSLAVEMODE_DISABLE;
  if (HAL_TIMEx_MasterConfigSynchronization(&htim8, &sMasterConfig) != HAL_OK)
  {
    Error_Handler();
  }
  sConfigOC.OCMode = TIM_OCMODE_PWM1;
  sConfigOC.Pulse = 0;
  sConfigOC.OCPolarity = TIM_OCPOLARITY_HIGH;
  sConfigOC.OCNPolarity = TIM_OCNPOLARITY_HIGH;
  sConfigOC.OCFastMode = TIM_OCFAST_DISABLE;
  sConfigOC.OCIdleState = TIM_OCIDLESTATE_RESET;
  sConfigOC.OCNIdleState = TIM_OCNIDLESTATE_RESET;
  if (HAL_TIM_PWM_ConfigChannel(&htim8, &sConfigOC, TIM_CHANNEL_1) != HAL_OK)
  {
    Error_Handler();
  }
  sBreakDeadTimeConfig.OffStateRunMode = TIM_OSSR_DISABLE;
  sBreakDeadTimeConfig.OffStateIDLEMode = TIM_OSSI_DISABLE;
  sBreakDeadTimeConfig.LockLevel = TIM_LOCKLEVEL_OFF;
  sBreakDeadTimeConfig.DeadTime = 0;
  sBreakDeadTimeConfig.BreakState = TIM_BREAK_DISABLE;
  sBreakDeadTimeConfig.BreakPolarity = TIM_BREAKPOLARITY_HIGH;
  sBreakDeadTimeConfig.AutomaticOutput = TIM_AUTOMATICOUTPUT_DISABLE;
  if (HAL_TIMEx_ConfigBreakDeadTime(&htim8, &sBreakDeadTimeConfig) != HAL_OK)
  {
    Error_Handler();
  }
  HAL_TIM_MspPostInit(&htim8);

}

static void MX_UART4_Init(void)
{

  huart4.Instance = UART4;
  huart4.Init.BaudRate = 115200;
  huart4.Init.WordLength = UART_WORDLENGTH_8B;
  huart4.Init.StopBits = UART_STOPBITS_1;
  huart4.Init.Parity = UART_PARITY_NONE;
  huart4.Init.Mode = UART_MODE_TX_RX;
  huart4.Init.HwFlowCtl = UART_HWCONTROL_NONE;
  huart4.Init.OverSampling = UART_OVERSAMPLING_8;
  if (HAL_UART_Init(&huart4) != HAL_OK)
  {
    Error_Handler();
  }

}

static void MX_UART5_Init(void)
{

  huart5.Instance = UART5;
  huart5.Init.BaudRate = 115200;
  huart5.Init.WordLength = UART_WORDLENGTH_8B;
  huart5.Init.StopBits = UART_STOPBITS_1;
  huart5.Init.Parity = UART_PARITY_NONE;
  huart5.Init.Mode = UART_MODE_TX_RX;
  huart5.Init.HwFlowCtl = UART_HWCONTROL_NONE;
  huart5.Init.OverSampling = UART_OVERSAMPLING_16;
  if (HAL_UART_Init(&huart5) != HAL_OK)
  {
    Error_Handler();
  }

}

static void MX_USART1_UART_Init(void)
{

  huart1.Instance = USART1;
  huart1.Init.BaudRate = 9600;
  huart1.Init.WordLength = UART_WORDLENGTH_8B;
  huart1.Init.StopBits = UART_STOPBITS_1;
  huart1.Init.Parity = UART_PARITY_NONE;
  huart1.Init.Mode = UART_MODE_TX_RX;
  huart1.Init.HwFlowCtl = UART_HWCONTROL_NONE;
  huart1.Init.OverSampling = UART_OVERSAMPLING_8;
  if (HAL_UART_Init(&huart1) != HAL_OK)
  {
    Error_Handler();
  }

}

static void MX_USART2_UART_Init(void)
{

  huart2.Instance = USART2;
  huart2.Init.BaudRate = 115200;
  huart2.Init.WordLength = UART_WORDLENGTH_8B;
  huart2.Init.StopBits = UART_STOPBITS_1;
  huart2.Init.Parity = UART_PARITY_NONE;
  huart2.Init.Mode = UART_MODE_TX_RX;
  huart2.Init.HwFlowCtl = UART_HWCONTROL_NONE;
  huart2.Init.OverSampling = UART_OVERSAMPLING_8;
  if (HAL_UART_Init(&huart2) != HAL_OK)
  {
    Error_Handler();
  }

}

static void MX_USART3_UART_Init(void)
{

  huart3.Instance = USART3;
  huart3.Init.BaudRate = 115200;
  huart3.Init.WordLength = UART_WORDLENGTH_8B;
  huart3.Init.StopBits = UART_STOPBITS_1;
  huart3.Init.Parity = UART_PARITY_NONE;
  huart3.Init.Mode = UART_MODE_TX_RX;
  huart3.Init.HwFlowCtl = UART_HWCONTROL_NONE;
  huart3.Init.OverSampling = UART_OVERSAMPLING_8;
  if (HAL_UART_Init(&huart3) != HAL_OK)
  {
    Error_Handler();
  }

}

static void MX_USART6_UART_Init(void)
{

  huart6.Instance = USART6;
  huart6.Init.BaudRate = 115200;
  huart6.Init.WordLength = UART_WORDLENGTH_8B;
  huart6.Init.StopBits = UART_STOPBITS_1;
  huart6.Init.Parity = UART_PARITY_NONE;
  huart6.Init.Mode = UART_MODE_TX_RX;
  huart6.Init.HwFlowCtl = UART_HWCONTROL_NONE;
  huart6.Init.OverSampling = UART_OVERSAMPLING_8;
  if (HAL_UART_Init(&huart6) != HAL_OK)
  {
    Error_Handler();
  }

}

static void MX_DMA_Init(void)
{

  /* DMA controller clock enable */
  __HAL_RCC_DMA2_CLK_ENABLE();

  /* DMA interrupt init */
  /* DMA2_Stream0_IRQn interrupt configuration */
  HAL_NVIC_SetPriority(DMA2_Stream0_IRQn, 5, 0);
  HAL_NVIC_EnableIRQ(DMA2_Stream0_IRQn);

}

static void MX_GPIO_Init(void)
{
  GPIO_InitTypeDef GPIO_InitStruct = {0};

  /* GPIO Ports Clock Enable */
  __HAL_RCC_GPIOC_CLK_ENABLE();
  __HAL_RCC_GPIOH_CLK_ENABLE();
  __HAL_RCC_GPIOA_CLK_ENABLE();
  __HAL_RCC_GPIOB_CLK_ENABLE();
  __HAL_RCC_GPIOD_CLK_ENABLE();

  /*Configure GPIO pin Output Level */
  HAL_GPIO_WritePin(LD2_GPIO_Port, LD2_Pin, GPIO_PIN_RESET);

  /*Configure GPIO pin Output Level */
  HAL_GPIO_WritePin(IMU_Reset_GPIO_Port, IMU_Reset_Pin, GPIO_PIN_RESET);

  /*Configure GPIO pin Output Level */
  HAL_GPIO_WritePin(GPIOB, TVC2_REV_Pin|TVC2_FWD_Pin|TVC1_REV_Pin|TVC1_FWD_Pin, GPIO_PIN_RESET);

  /*Configure GPIO pin : B1_Pin */
  GPIO_InitStruct.Pin = B1_Pin;
  GPIO_InitStruct.Mode = GPIO_MODE_IT_FALLING;
  GPIO_InitStruct.Pull = GPIO_NOPULL;
  HAL_GPIO_Init(B1_GPIO_Port, &GPIO_InitStruct);

  /*Configure GPIO pin : LD2_Pin */
  GPIO_InitStruct.Pin = LD2_Pin;
  GPIO_InitStruct.Mode = GPIO_MODE_OUTPUT_PP;
  GPIO_InitStruct.Pull = GPIO_NOPULL;
  GPIO_InitStruct.Speed = GPIO_SPEED_FREQ_LOW;
  HAL_GPIO_Init(LD2_GPIO_Port, &GPIO_InitStruct);

  /*Configure GPIO pin : IMU_Reset_Pin */
  GPIO_InitStruct.Pin = IMU_Reset_Pin;
  GPIO_InitStruct.Mode = GPIO_MODE_OUTPUT_PP;
  GPIO_InitStruct.Pull = GPIO_NOPULL;
  GPIO_InitStruct.Speed = GPIO_SPEED_FREQ_LOW;
  HAL_GPIO_Init(IMU_Reset_GPIO_Port, &GPIO_InitStruct);

  /*Configure GPIO pins : TVC2_REV_Pin TVC2_FWD_Pin TVC1_REV_Pin TVC1_FWD_Pin */
  GPIO_InitStruct.Pin = TVC2_REV_Pin|TVC2_FWD_Pin|TVC1_REV_Pin|TVC1_FWD_Pin;
  GPIO_InitStruct.Mode = GPIO_MODE_OUTPUT_PP;
  GPIO_InitStruct.Pull = GPIO_NOPULL;
  GPIO_InitStruct.Speed = GPIO_SPEED_FREQ_LOW;
  HAL_GPIO_Init(GPIOB, &GPIO_InitStruct);

  /* EXTI interrupt init*/
  HAL_NVIC_SetPriority(EXTI15_10_IRQn, 5, 0);
  HAL_NVIC_EnableIRQ(EXTI15_10_IRQn);

}

void StartDefaultTask(void *argument)
{
  /* USER CODE BEGIN 5 */
		const TickType_t xFrequency = pdMS_TO_TICKS(1000);
		const uint8_t timeoutCycles = 10;
		TickType_t xLastWakeTime = xTaskGetTickCount();
	HAL_Delay(20); // TODO large delay... check
	printf("\r\nHeartbeat Initializing... \r\n\n");

	uint8_t timeout_counter = 0; // TODO Also defined in heartbeat.c - clean up!

	STM32Message heartbeat;

	while (1)
	  {
	    vTaskDelayUntil(&xLastWakeTime, xFrequency);

	    // Receive heartbeat from Pi (if available)
	    if (xQueueReceive(piMessageQueueHandle, &heartbeat, 0) == pdTRUE) {
	      timeout_counter = timeoutCycles;

	      // Update system states from Pi command
	      tvcVal1_angular = heartbeat.tvcVal1_angular;
	      tvcVal2_angular = heartbeat.tvcVal2_angular;
	      engine_thrust_p = heartbeat.engine_thrust_p;
	      engine_hover_m = heartbeat.engine_hover_m;

	      // Update states from heartbeat
	      acsState     = (ACS_State) heartbeat.acs_state;
	      tvcState     = (TVC_State) heartbeat.tvc_state;
	      engineState  = (Jet_State) heartbeat.engine_state;
	      engineSafe   = heartbeat.engine_safe;
	      enginePwr    = heartbeat.engine_power;

	      // Also update TVC manual targets
	      tvcManualSetpoint1 = heartbeat.tvcVal1_angular;
	      tvcManualSetpoint2 = heartbeat.tvcVal2_angular;

	      // Process navigation command if present
	      if (strlen(heartbeat.command_string) > 0) {
	        extern void ProcessIncomingCommand(const char* command_string);
	        ProcessIncomingCommand(heartbeat.command_string);
	      }

	      // Optional IMU recalibration trigger
	      if (heartbeat.calibrateIMU > 0) {
	        imuCalibrate_Sticky = 1;
	      }

	    }
	    else if (timeout_counter > 0) {
	      --timeout_counter;
	    }

	    // Safety fallback: disable if timeout reached
	    if (timeout_counter == 0) {
	      acsState = SystemACS_Enable;
	      tvcState = SystemTVC_Disable;
	      engineState = SystemJet_Disable;
        // TODO add safeland logic here on heartbeat timeout
	    }

	    // Build heartbeat response
	    stm32Response.heartbeat_counter = timeout_counter;
	    buildHeartbeatPacket(&stm32Response);

	#ifndef DEBUG_PRINTF
	    // TODO Enable heartbeat send once ready
//	    sendHeartbeatPacket(&huart2, &stm32Response);  // encoded heartbeat message
//	    heartbeatDebugOutput(&huart2, &stm32Response); // debug output text
	    debugOutput(&huart2);

	#endif

	  }

  /* USER CODE END 5 */
}

void StartACSTask(void *argument)
{
  /* USER CODE BEGIN StartACSTask */

		const TickType_t xFrequency = pdMS_TO_TICKS(100);
		TickType_t xLastWakeTime = xTaskGetTickCount();

		float EDFReadyState = 50;  // Idle state for ESC
		static bool imuCalibrated = false;

		/* Infinite loop */
		for(;;)
		{
			// Set task to delay until the inputted timespan
			vTaskDelayUntil(&xLastWakeTime,xFrequency);

			// Check that our UARTs are pending, they should always be in busy_rx
			if (huart6.RxState != HAL_UART_STATE_BUSY_RX) {
				__HAL_UART_CLEAR_OREFLAG(&huart6);
				HAL_UART_Receive_IT(&huart6, imu1RxBuf, IMU_PACKET_LEN);
			}
			if (huart4.RxState != HAL_UART_STATE_BUSY_RX) {
				__HAL_UART_CLEAR_OREFLAG(&huart4);
				HAL_UART_Receive_IT(&huart4, imu2RxBuf, IMU_PACKET_LEN);
			}
			if (huart3.RxState != HAL_UART_STATE_BUSY_RX) {
				__HAL_UART_CLEAR_OREFLAG(&huart3);
				HAL_UART_Receive_IT(&huart3, imu3RxBuf, IMU_PACKET_LEN);
			}

			// Calibration check
		if (!imuCalibrated) {
	        // Check if we're in flight mode or at high altitude

	        if (adjusted_altitude_cm > 200) {  // 2 meters = 200 cm
	                printf("\r\n ERROR: Cannot calibrate IMU during flight, or unscheduled descent!\r\n");
	        	}
	        else {
	        	if (calibrateIMU_RTOS() == CALIBRATION_COMPLETE) {
	               printf("\r\n[ACS] Initial IMU Calibration Complete.\r\n");
	               imuCalibrated = true;
	            }
	        }
		}
		else { // Normal ACS Operation

            // Process IMU data here
            processIMUData(imu1RxBuf, 1);
            processIMUData(imu2RxBuf, 2);
            processIMUData(imu3RxBuf, 3);

            // If heartbeat detects a calibration input, run calibration
            // Safety checks to prevent calibration during flight or at high altitude
            if (imuCalibrate_Sticky == 1) {
                // Check if we're in flight mode or at high altitude

                if (adjusted_altitude_cm > 200) {  // 2 meters = 200 cm
                    printf("\r\n ERROR: Cannot calibrate IMU during flight, or unscheduled descent!\r\n");
                    imuCalibrate_Sticky = 0;  // Clear the calibration request
                }
                else {
                    printf("\r\n IMU Calibration started...\r\n");
                    calibrateIMU_RTOS();
                    osDelay(10);
                    imuCalibrate_Sticky = 0; // clear after completion
                }
            }

            // Check IMU data agreement & apply calibration offsets
    		IMUCrossCheck();

    		uint32_t currentTime = HAL_GetTick();

    		// Enable or Disable ACS using button
    		if (modeButton == 0 && acsState != SystemACS_Disable) {
    		    acsState = SystemACS_Disable;
    		}
    		else if (modeButton == 1 && acsState != SystemACS_Enable) {
    		    acsState = SystemACS_Enable;
    		}

    		// Run ACS system if heartbeat command sets "SystemACS_Enable" mode
    		if (acsState == SystemACS_Enable && (currentTime - lastUpdate >= 100)) {

    		    ACS_PID_Control(); 			// Enable ACS system

    		    lastUpdate = currentTime;
    		}

    		else if (acsState == SystemACS_Disable) {
    		    // Stop the control loop — put ACS into "idle" state
				TIM3->CCR1 = EDFReadyState;
				TIM3->CCR2 = EDFReadyState;
				TIM3->CCR3 = EDFReadyState;
				TIM3->CCR4 = EDFReadyState;
				TIM4->CCR1 = EDFReadyState;
				TIM4->CCR2 = EDFReadyState;

				// Reset integral values to prevent buildup while disabled
    		    I_pitch = 0;
    		    I_roll  = 0;
    		    I_yaw   = 0;
    		    integral_pitch = 0;
    		    integral_roll  = 0;
    		    integral_yaw   = 0;
    		}
		}

	}
  /* USER CODE END StartACSTask */
}

void StartDebugTask(void *argument)
{
  /* USER CODE BEGIN StartDebugTask */

	// Calculating the time / frequency of task
	const TickType_t xFrequency = pdMS_TO_TICKS(200);
	TickType_t xLastWakeTime = xTaskGetTickCount();

	// Define number of output iterations to skip for debugging monitoring
	int n_iter = 5;

	/* Infinite loop */
	for(int debugIteration=0;true;debugIteration++)
	{
		// Set task to delay until the inputted timespan
		vTaskDelayUntil(&xLastWakeTime,xFrequency);

		/* USER CODE END WHILE */

		/* USER CODE BEGIN 3 */

		//outputs debug skipping iterations (easier to read in serial monitor)
		if (debugIteration % n_iter == 0){

			debugOutput(&huart2);
//			heartbeatDebugOutput(&huart2, &stm32Response);

		}

	}
  /* USER CODE END StartDebugTask */
}

/* USER CODE BEGIN Header_StartTVCTask */
/**
* @brief Function implementing the tvcTask thread.
* @param argument: Select TVC_Manual, or TVC_Auto
* @retval None
*/
/* USER CODE END Header_StartTVCTask */
void StartTVCTask(void *argument)
{
  /* USER CODE BEGIN StartTVCTask */

	// Calculating the time / frequency of task
//	const TickType_t xFrequency = pdMS_TO_TICKS(500);
//	TickType_t xLastWakeTime = xTaskGetTickCount();

//	SubsystemState currentMode = TVC_Manual; // Default to manual mode for now

  for(;;)
  {
    osDelay(1);
    if (modeButton == 0){ // Toggled state. Button mode is for testing only
    	Test_TVC(1);
    	Test_TVC(2);
    	Hold(1);
    	Hold(2);
    	}

    if (modeButton == 1){
    	TVC_Manual();

    	}
  }
  /* USER CODE END StartTVCTask */
}

void StartKillSwitchPin(void *argument)
{
  /* USER CODE BEGIN StartKillSwitchPin */
	// TODO set killswitch bool. If "engine kill" is sent from ground station, trigger emergency kill
	// TODO Add physical check for kill switch pin... when pin is pulled, trigger emergency shutoff.

  /* Infinite loop */
  for(;;)
  {
    osDelay(1); // skeleton code for safe land logic and engine kill switch overrides...
//    check_for_safeland();

    /*
    > check for killswitch command on every loop
    > If vehicle velocity exceeds safe value, attempt hover state, if hover attempt takes too long, attempt safe land, if vehicle is failing to slow, enter emergency_land
    > Check engine status (fuel, power etc) for safe operation margins
    > Check for ACS power status
    > if any system returns low or critical, call SafeLand
    > If safeLand called, declare system states (safe_land)
    > ACS should keep operating until altimeter detects landed state (initial altitude + no changes for x-time)
    > Engine should execute "safe land" sequence, throttle down slowly until landed, cooldown, then once safe temperature reached, power off
    > If safe_land is not possible (system critical or unavailable), execute emergency_land
      > if ACS system fail: throttle down quickly and attempt to use TVC for platform leveling until grounded
      > if engine system fail: attempt to enter cooldown sequence for engine, increase "nominal" ACS thrust (set point from 50% to 75-80%) until landed
      > if altimeter fail, attempt to utilize velocity and acceleration reading from IMU. Slowly throttle down until velocity reached 0, look out for spike in acceleration to signal landed state
      > if emergyency_land fails, kill switch engage!
    */
  }
}
  /* USER CODE END StartKillSwitchPin */

void StartEngineTask(void *argument)
{
  /* USER CODE BEGIN StartEngineTask */
	// TODO Don't start engine until engine system is set to "enable" or "Automatic"
	// TODO Don't let engine try to spool up before all other calibration checks are complete (TVC, ACS, GimbalIMU)
	// TODO Set up  button-state control to manually enter "cooldown" mode on the engine.
	// TODO enable check for kill switch logic *(kill switch task should set a software bool for when this is called from the ground station)

	// Initialize engine PID, timing, and constants...
	initEngineControl();

    // Calculating the time / frequency of task
    const TickType_t xFrequency = pdMS_TO_TICKS(1000);  // Task delay time
    // TODO Restore this to 100 or 200 ms, set at 1000ms for debugging purposes...
    TickType_t xLastWakeTime = xTaskGetTickCount();    // Get the current tick count

    engineState = SystemJet_Automatic;   // Manual engine state set for testing!
    //TODO Remove hard coded auto state

  /* Infinite loop */
  for(;;)
  {
         // Set task to delay until the inputted timespan
         vTaskDelayUntil(&xLastWakeTime, xFrequency);

         // Check if I2C is ready for the next operation
         if (lidarMeasurementInProgress == false && lidarDistanceReadInProgress == false)
         {
             // Process Altimeter Data
             altimeterReadFrame();

             // Allow process to complete
             //osDelay(1);  // Give time for I2C operations to complete
         }
         else
         {
             if (lidarMeasurementInProgress) {
                 printf("\r\n[LIDAR] Measurement error \r\n");
                 // If this flag is returned, MemTxCpltCallback() is NOT being called
             }
             if (lidarDistanceReadInProgress) {
                 printf("\r\n[LIDAR] Distance read error \r\n");
                 // If this flag is returned, MemRxCpltCallback() is NOT being called
             }
         }

         if (engineState == SystemJet_Disable) { // TODO remove before flight - update with actual logic
             engineState = SystemJet_Automatic;  // Force auto mode for PID testing
         }
         runEngineControl_Test();

     }

  /* USER CODE END StartEngineTask */
}

void HAL_TIM_PeriodElapsedCallback(TIM_HandleTypeDef *htim)
{
  if (htim->Instance == TIM1)
  {
    HAL_IncTick();
  }
}

void Error_Handler(void)
{
  __disable_irq();
  while (1)
  {
  }
}
#ifdef USE_FULL_ASSERT
/**
  * @brief  Reports the name of the source file and the source line number
  *         where the assert_param error has occurred.
  * @param  file: pointer to the source file name
  * @param  line: assert_param error line source number
  * @retval None
  */
void assert_failed(uint8_t *file, uint32_t line)
{
  /* USER CODE BEGIN 6 */
	/* User can add their own implementation to report the file name and line number,
     ex: printf("Wrong parameters value: file %s on line %d\r\n", file, line) */
  /* USER CODE END 6 */
}
#endif /* USE_FULL_ASSERT */
